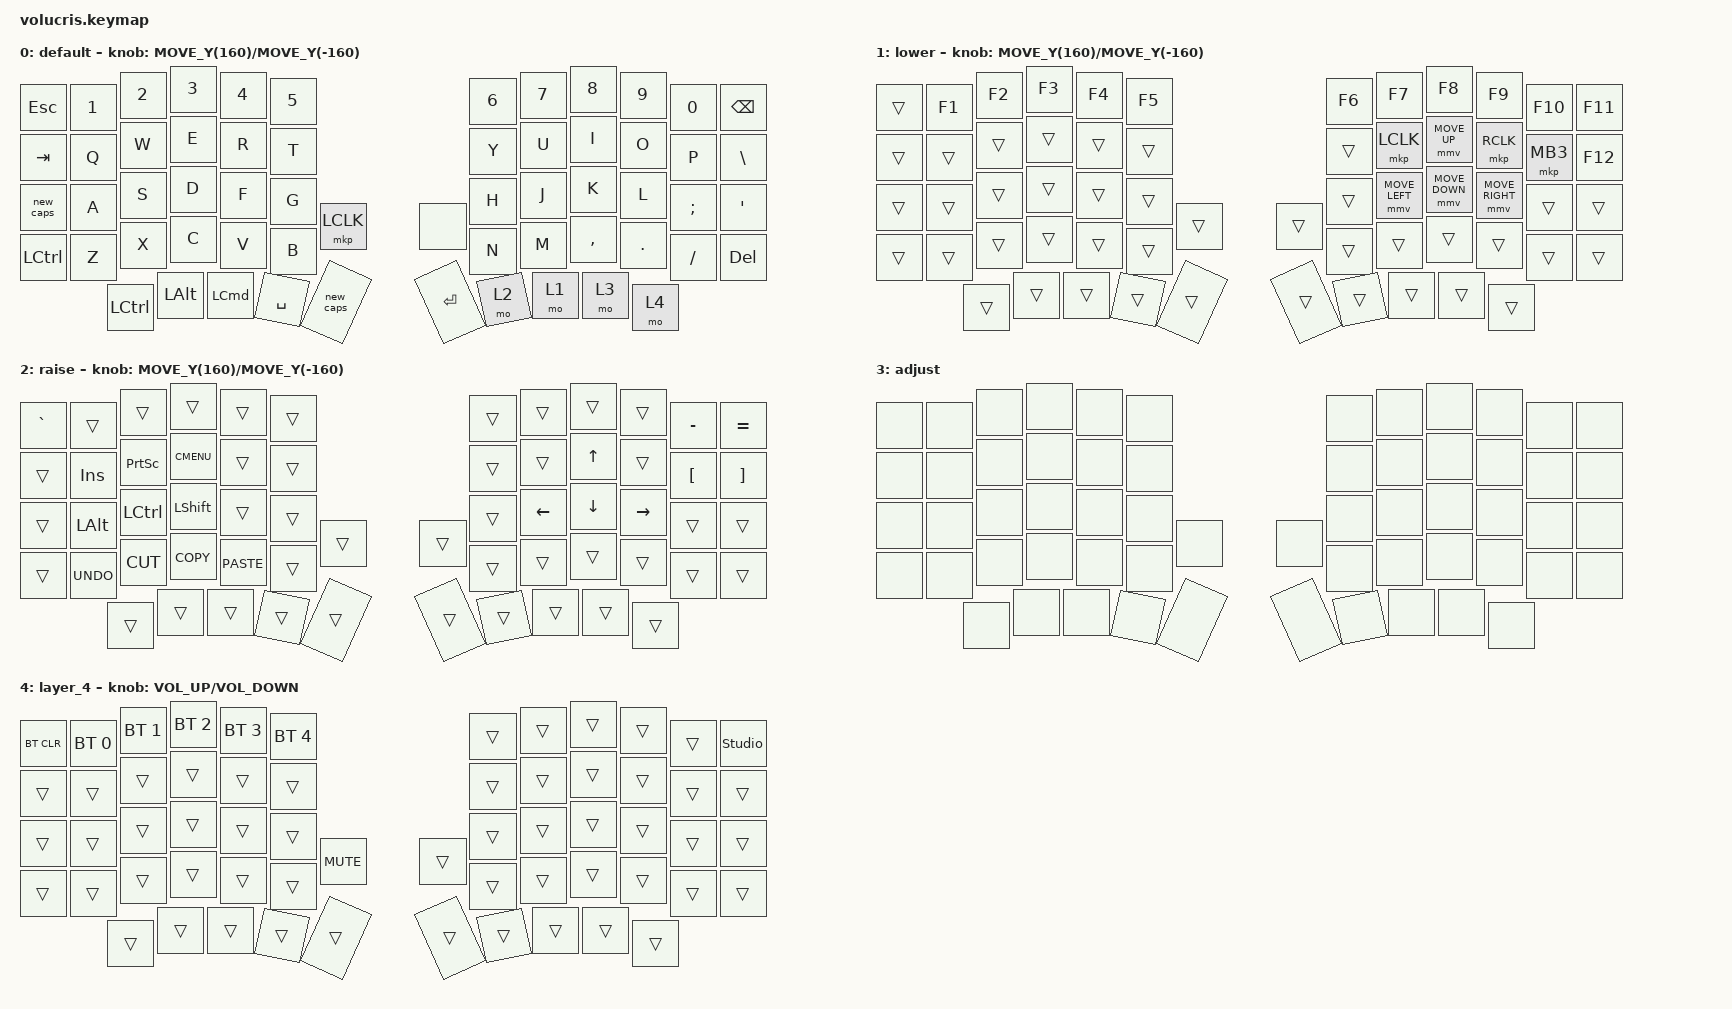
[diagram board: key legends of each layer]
#include <behaviors.dtsi>
#include <dt-bindings/zmk/bt.h>
#include <dt-bindings/zmk/keys.h>
#include <dt-bindings/zmk/pointing.h>

#define BASE 0
#define LOWER 1
#define RAISE 2
#define ADJUST 3

/ {
    conditional_layers {
        compatible = "zmk,conditional-layers";

        adjust_layer {
            if-layers = <1 2>;
            then-layer = <3>;
        };
    };

    behaviors {
        enc_scroll: enc_scroll {
            compatible = "zmk,behavior-sensor-rotate-var";
            #sensor-binding-cells = <2>;
            bindings = <&msc>, <&msc>;

            tap-ms = <30>;
        };

        new_caps: new_caps {
            compatible = "zmk,behavior-tap-dance";
            label = "NEW_CAPS";
            #binding-cells = <0>;
            bindings = <&kp LSHIFT>, <&kp CAPSLOCK>;

            tapping-term-ms = <325>;
        };
    };

    keymap {
        compatible = "zmk,keymap";

        default_layer {
            display-name = "default";
            bindings = <
&kp ESC    &kp N1  &kp N2     &kp N3    &kp N4            &kp N5                           &kp N6  &kp N7  &kp N8     &kp N9   &kp N0    &kp BACKSPACE
&kp TAB    &kp Q   &kp W      &kp E     &kp R             &kp T                            &kp Y   &kp U   &kp I      &kp O    &kp P     &kp BACKSLASH
&new_caps  &kp A   &kp S      &kp D     &kp F             &kp G                            &kp H   &kp J   &kp K      &kp L    &kp SEMI  &kp SQT
&kp LCTRL  &kp Z   &kp X      &kp C     &kp V             &kp B      &mkp LCLK  &none      &kp N   &kp M   &kp COMMA  &kp DOT  &kp FSLH  &kp DEL
                   &kp LCTRL  &kp LALT  &kp LEFT_COMMAND  &kp SPACE  &new_caps  &kp ENTER  &mo 2   &mo 1   &mo 3      &mo 4
            >;

            sensor-bindings = <&enc_scroll MOVE_Y(160) MOVE_Y(-160)>;
        };

        lower_layer {
            display-name = "lower";
            bindings = <
&trans  &kp F1  &kp F2  &kp F3  &kp F4  &kp F5                  &kp F6  &kp F7          &kp F8          &kp F9           &kp F10   &kp F11
&trans  &trans  &trans  &trans  &trans  &trans                  &trans  &mkp LCLK       &mmv MOVE_UP    &mkp RCLK        &mkp MB3  &kp F12
&trans  &trans  &trans  &trans  &trans  &trans                  &trans  &mmv MOVE_LEFT  &mmv MOVE_DOWN  &mmv MOVE_RIGHT  &trans    &trans
&trans  &trans  &trans  &trans  &trans  &trans  &trans  &trans  &trans  &trans          &trans          &trans           &trans    &trans
                &trans  &trans  &trans  &trans  &trans  &trans  &trans  &trans          &trans          &trans
            >;

            sensor-bindings = <&enc_scroll MOVE_Y(160) MOVE_Y(-160)>;
        };

        raise_layer {
            display-name = "raise";
            bindings = <
&kp GRAVE  &trans      &trans     &trans       &trans       &trans                  &trans  &trans    &trans    &trans     &kp MINUS         &kp EQUAL
&trans     &kp INS     &kp PSCRN  &kp K_CMENU  &trans       &trans                  &trans  &trans    &kp UP    &trans     &kp LEFT_BRACKET  &kp RIGHT_BRACKET
&trans     &kp LALT    &kp LCTRL  &kp LSHFT    &trans       &trans                  &trans  &kp LEFT  &kp DOWN  &kp RIGHT  &trans            &trans
&trans     &kp K_UNDO  &kp K_CUT  &kp K_COPY   &kp K_PASTE  &trans  &trans  &trans  &trans  &trans    &trans    &trans     &trans            &trans
                       &trans     &trans       &trans       &trans  &trans  &trans  &trans  &trans    &trans    &trans
            >;

            sensor-bindings = <&enc_scroll MOVE_Y(160) MOVE_Y(-160)>;
        };

        adjust_layer {
            display-name = "adjust";
            bindings = <
&none  &none  &none  &none  &none  &none                &none  &none  &none  &none  &none  &none
&none  &none  &none  &none  &none  &none                &none  &none  &none  &none  &none  &none
&none  &none  &none  &none  &none  &none                &none  &none  &none  &none  &none  &none
&none  &none  &none  &none  &none  &none  &none  &none  &none  &none  &none  &none  &none  &none
              &none  &none  &none  &none  &none  &none  &none  &none  &none  &none
            >;
        };

        layer_4 {
            bindings = <
&bt BT_CLR  &bt BT_SEL 0  &bt BT_SEL 1  &bt BT_SEL 2  &bt BT_SEL 3  &bt BT_SEL 4                      &trans  &trans  &trans  &trans  &trans  &studio_unlock
&trans      &trans        &trans        &trans        &trans        &trans                            &trans  &trans  &trans  &trans  &trans  &trans
&trans      &trans        &trans        &trans        &trans        &trans                            &trans  &trans  &trans  &trans  &trans  &trans
&trans      &trans        &trans        &trans        &trans        &trans        &kp C_MUTE  &trans  &trans  &trans  &trans  &trans  &trans  &trans
                          &trans        &trans        &trans        &trans        &trans      &trans  &trans  &trans  &trans  &trans
            >;

            sensor-bindings = <&inc_dec_kp C_VOLUME_UP C_VOLUME_DOWN>;
        };
    };
};
